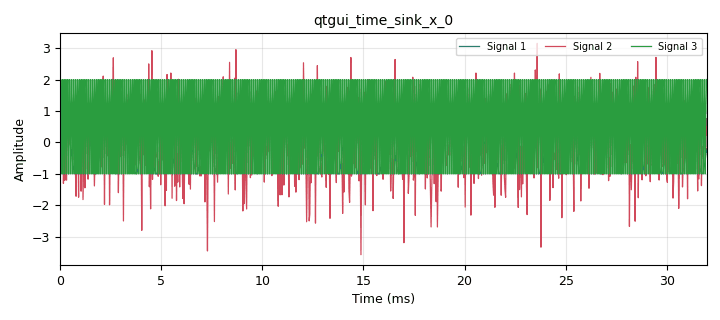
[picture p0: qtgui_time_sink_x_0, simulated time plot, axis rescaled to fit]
options:
  parameters:
    author: labcom
    generate_options: qt_gui
    id: lab1
    output_language: python
    title: Not titled yet
  states: {}

blocks:
- name: samp_rate
  id: variable
  parameters:
    value: '32000'
  states: {}
- name: analog_noise_source_x_0
  id: analog_noise_source_x
  parameters:
    amp: '1'
    noise_type: analog.GR_GAUSSIAN
    seed: '0'
    type: int
  states: {state: disabled}
- name: analog_noise_source_x_1
  id: analog_noise_source_x
  parameters:
    amp: '1'
    noise_type: analog.GR_GAUSSIAN
    seed: '0'
    type: float
  states: {}
- name: analog_sig_source_x_0
  id: analog_sig_source_x
  parameters:
    amp: '1'
    freq: '1000'
    offset: '0'
    phase: '0'
    samp_rate: samp_rate
    type: float
    waveform: analog.GR_SIN_WAVE
  states: {}
- name: blocks_vector_source_x_0
  id: blocks_vector_source_x
  parameters:
    repeat: 'True'
    type: float
    vector: (1, 2, -1)
  states: {}
- name: epy_block_0
  id: epy_block
  parameters:
    _source_code: |
      import numpy as np
      from gnuradio import gr
      class blk (gr. sync_block ):
      	def __init__ ( self ) : # only default arguments here
      		gr. sync_block . __init__ (
      		self ,
      		name =' Promedios_de_tiempos ', # will show up in GRC
      		in_sig =[ np. float32 ],
      		out_sig =[ np. float32 ,np. float32 ,np. float32 ,np. float32 ,np. float32 ]
      		)
      		self . acum_anterior = 0
      		self . Ntotales = 0
      		self . acum_anterior1 = 0
      		self . acum_anterior2 = 0
      	def work (self , input_items , output_items ):
      		x = input_items [0] # Senial de entrada .
      		y0 = output_items [0] # Promedio de la senial
      		y1 = output_items [1] # Media de la senial
      		y2 = output_items [2] # RMS de la senial
      		y3 = output_items [3] # Potencia promedio de la senial
      		y4 = output_items [4] # Desviacion estandar de la senial
      		# Calculo del promedio
      		N = len (x)
      		self . Ntotales = self . Ntotales + N
      		acumulado = self . acum_anterior + np. cumsum (x)
      		self . acum_anterior = acumulado [N -1]
      		y0 [:]= acumulado / self . Ntotales
      		# Calculo de la media cuadratica
      		x2=np. multiply (x,x)
      		acumulado1 = self . acum_anterior1 + np. cumsum (x2)
      		self . acum_anterior1 = acumulado [N -1]
      		y1 [:] = acumulado1 / self . Ntotales
      		# Calculo de la RMS
      		y2 [:] = np. sqrt (y1)
      		# Calculo de la potencia promedio
      		y3 [:] = np. multiply (y2 ,y2)
      		# Calculo de la desviacion estandar
      		x3 = np. multiply (x-y0 ,x-y0)
      		acumulado2 = self . acum_anterior2 + np. cumsum (x3)
      		self . acum_anterior2 = acumulado2 [N -1]
      		y4 [:] = np. sqrt ( acumulado2 / self . Ntotales )
      		return len (x)
  states: {}
- name: qtgui_number_sink_0
  id: qtgui_number_sink
  parameters:
    graph_type: qtgui.NUM_GRAPH_HORIZ
    name: Media
    type: float
  states: {}
- name: qtgui_number_sink_0_0
  id: qtgui_number_sink
  parameters:
    graph_type: qtgui.NUM_GRAPH_HORIZ
    name: Media Cuadratica
    type: float
  states: {}
- name: qtgui_number_sink_0_1
  id: qtgui_number_sink
  parameters:
    graph_type: qtgui.NUM_GRAPH_HORIZ
    name: RMS
    type: float
  states: {}
- name: qtgui_number_sink_0_2
  id: qtgui_number_sink
  parameters:
    graph_type: qtgui.NUM_GRAPH_HORIZ
    name: Potencia Promedio
    type: float
  states: {}
- name: qtgui_number_sink_0_2_0
  id: qtgui_number_sink
  parameters:
    graph_type: qtgui.NUM_GRAPH_HORIZ
    name: Desviacion Estandar
    type: float
  states: {}
- name: qtgui_time_sink_x_0
  id: qtgui_time_sink_x
  parameters:
    nconnections: '3'
    size: '1024'
    srate: samp_rate
    type: float
  states: {}

connections:
- [analog_noise_source_x_1, '0', qtgui_time_sink_x_0, '1']
- [analog_sig_source_x_0, '0', epy_block_0, '0']
- [analog_sig_source_x_0, '0', qtgui_time_sink_x_0, '0']
- [blocks_vector_source_x_0, '0', qtgui_time_sink_x_0, '2']
- [epy_block_0, '0', qtgui_number_sink_0, '0']
- [epy_block_0, '1', qtgui_number_sink_0_0, '0']
- [epy_block_0, '2', qtgui_number_sink_0_1, '0']
- [epy_block_0, '3', qtgui_number_sink_0_2, '0']
- [epy_block_0, '4', qtgui_number_sink_0_2_0, '0']

metadata:
  file_format: 1
  grc_version: 3.9.8.0
